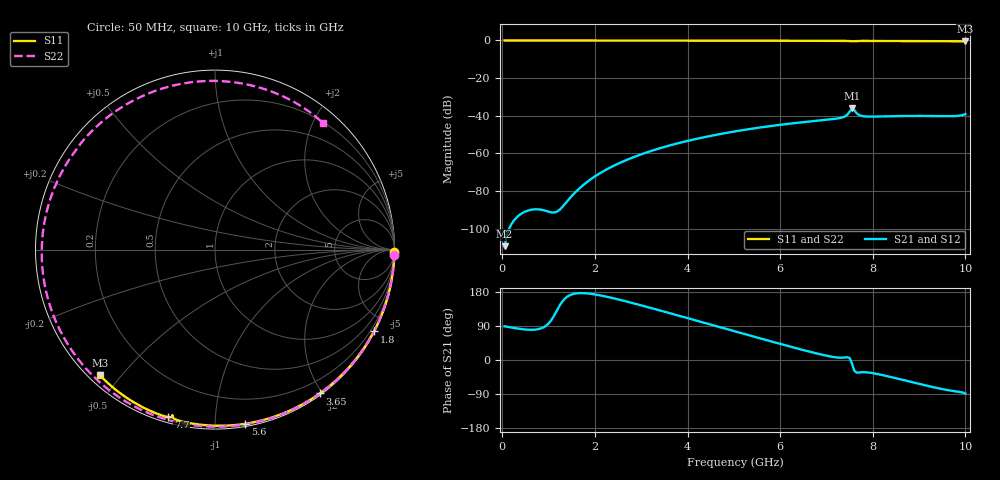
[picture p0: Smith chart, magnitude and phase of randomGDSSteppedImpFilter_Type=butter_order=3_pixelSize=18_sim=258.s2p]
! freq	dB(S11)	phase(S11)	dB(S12)	phase(S12)
!  dB(S21)	phase(S21)	dB(S22)	phase(S22)
!S-par simulation data
#  GHz  S  DB  R 50
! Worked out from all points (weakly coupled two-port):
!   200 points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, 50 MHz to 10 GHz, reference 50 ohm
!   highest |S21| = -36.11 dB at 7.55 GHz (marker M1); lowest = -109.4 dB at 50 MHz (marker M2)
!   lowest |S11| = -0.5 dB at 10 GHz (marker M3), VSWR 38.37, Z = 1.56 - j22 ohm
!   |S11| at or under -10 dB: nowhere
!   |S22| runs from -0.7 to 0.0 dB; largest |S21 - S12| = 0
!   S11 on the Smith chart (normalised r, x): 50 MHz: open; 1.8 GHz: 0.04, -4.13; 3.65 GHz: 0.02, -1.96; 5.6 GHz: 0.02, -1.19; 7.7 GHz: 0.03, -0.76; 10 GHz: 0.03, -0.44
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0.05  -0.00 -0.8  -109.38 88.9  -109.38 88.9  -0.00 -1.6
0.8  -0.02 -12.2  -89.86 82.0  -89.86 82.0  -0.03 -24.8
1.6  -0.03 -24.3  -80.15 175.8  -80.15 175.8  -0.06 -49.0
1.75  -0.03 -26.5  -76.82 176.5  -76.82 176.5  -0.07 -53.4
1.8  -0.03 -27.2  -75.83 176.1  -75.83 176.1  -0.07 -54.9
2.5  -0.05 -37.5  -65.53 160.0  -65.53 160.0  -0.09 -75.1
3.4  -0.07 -50.4  -57.34 130.9  -57.34 130.9  -0.13 -100.1
3.65  -0.07 -53.9  -55.59 122.5  -55.59 122.5  -0.14 -106.9
4.3  -0.09 -62.9  -51.75 100.3  -51.75 100.3  -0.17 -124.3
5.05  -0.11 -73.0  -48.25 74.7  -48.25 74.7  -0.21 -144.3
5.6  -0.13 -80.1  -46.17 56.0  -46.17 56.0  -0.25 -159.2
6.15  -0.15 -87.1  -44.41 37.6  -44.41 37.6  -0.29 -174.4
6.7  -0.18 -94.0  -42.93 19.9  -42.93 19.9  -0.34 169.7
7.35  -0.23 -102.2  -40.86 6.2  -40.86 6.2  -0.40 149.7
7.45  -0.27 -103.6  -39.48 7.2  -39.48 7.2  -0.41 146.5
7.55  -0.43 -104.5  -36.11 -8.7  -36.11 -8.7  -0.42 143.3
7.7  -0.28 -105.5  -39.62 -33.1  -39.62 -33.1  -0.42 138.3
8.35  -0.29 -113.6  -40.31 -43.7  -40.31 -43.7  -0.48 115.5
8.8  -0.33 -118.8  -40.14 -57.2  -40.14 -57.2  -0.52 98.6
9.2  -0.37 -123.4  -40.17 -68.8  -40.17 -68.8  -0.55 82.7
9.75  -0.42 -129.7  -40.23 -82.1  -40.23 -82.1  -0.61 59.8
10  -0.45 -132.5  -39.14 -88.6  -39.14 -88.6  -0.66 49.3
